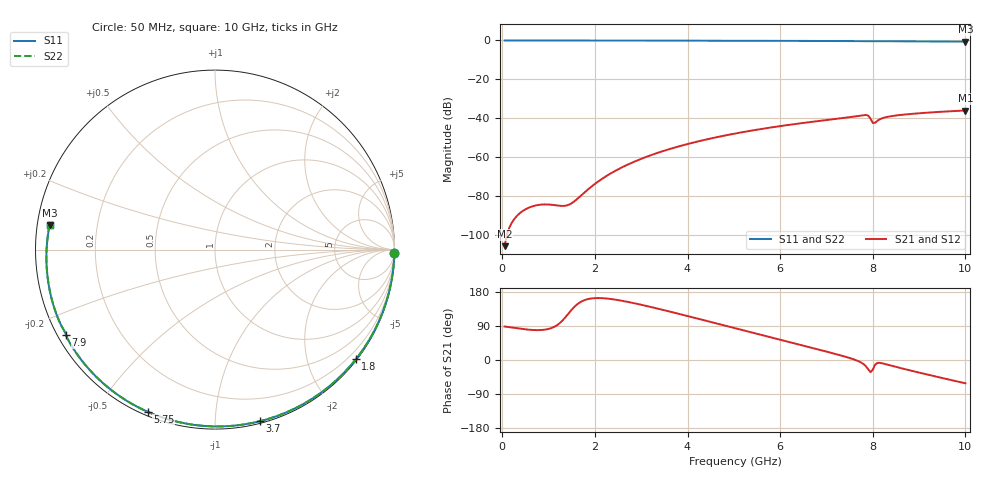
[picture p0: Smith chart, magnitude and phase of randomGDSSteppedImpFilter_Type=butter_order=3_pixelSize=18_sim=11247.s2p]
! freq	dB(S11)	phase(S11)	dB(S12)	phase(S12)
!  dB(S21)	phase(S21)	dB(S22)	phase(S22)
!S-par simulation data
#  GHz  S  DB  R 50
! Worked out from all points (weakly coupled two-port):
!   200 points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, 50 MHz to 10 GHz, reference 50 ohm
!   highest |S21| = -35.99 dB at 10 GHz (marker M1); lowest = -105.7 dB at 50 MHz (marker M2)
!   lowest |S11| = -0.6 dB at 10 GHz (marker M3), VSWR 28.33, Z = 1.77 + j3.69 ohm
!   |S11| at or under -10 dB: nowhere
!   |S22| runs from -0.6 to 0.0 dB; largest |S21 - S12| = 0
!   S11 on the Smith chart (normalised r, x): 50 MHz: open; 1.8 GHz: 0.03, -2.91; 3.7 GHz: 0.02, -1.29; 5.75 GHz: 0.02, -0.67; 7.9 GHz: 0.02, -0.27; 10 GHz: 0.04, +0.07
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0.05  -0.00 -1.1  -105.70 88.4  -105.70 88.4  -0.00 -1.1
0.8  -0.02 -17.1  -84.44 78.9  -84.44 78.9  -0.02 -17.1
1.65  -0.04 -34.8  -80.78 150.0  -80.78 150.0  -0.04 -34.8
1.75  -0.05 -36.9  -78.65 156.8  -78.65 156.8  -0.05 -36.9
1.8  -0.05 -37.9  -77.60 159.1  -77.60 159.1  -0.05 -37.9
2.15  -0.06 -45.0  -71.17 163.2  -71.17 163.2  -0.06 -45.0
2.5  -0.07 -52.1  -66.23 158.1  -66.23 158.1  -0.07 -52.1
2.9  -0.08 -60.0  -61.79 148.5  -61.79 148.5  -0.08 -60.0
3.4  -0.09 -69.7  -57.39 134.3  -57.39 134.3  -0.09 -69.7
3.7  -0.10 -75.4  -55.19 125.3  -55.19 125.3  -0.10 -75.4
4.35  -0.12 -87.5  -51.18 105.2  -51.18 105.2  -0.12 -87.5
5.05  -0.15 -100.2  -47.72 83.2  -47.72 83.2  -0.15 -100.2
5.75  -0.19 -112.6  -44.90 61.3  -44.90 61.3  -0.19 -112.6
6.7  -0.25 -129.1  -41.77 31.7  -41.77 31.7  -0.25 -129.1
7.8  -0.35 -148.3  -38.36 -10.8  -38.36 -10.8  -0.35 -148.2
7.9  -0.38 -150.1  -38.57 -24.2  -38.57 -24.2  -0.38 -150.1
8  -0.41 -151.6  -42.35 -25.7  -42.35 -25.7  -0.41 -151.6
8.05  -0.40 -152.4  -42.28 -12.4  -42.28 -12.4  -0.40 -152.4
8.2  -0.40 -155.0  -40.01 -8.6  -40.01 -8.6  -0.40 -155.0
8.35  -0.41 -157.7  -39.10 -13.3  -39.10 -13.3  -0.41 -157.7
9.2  -0.50 -173.1  -37.07 -39.0  -37.07 -39.0  -0.50 -173.1
10  -0.61 171.6  -35.99 -61.5  -35.99 -61.5  -0.61 171.6
